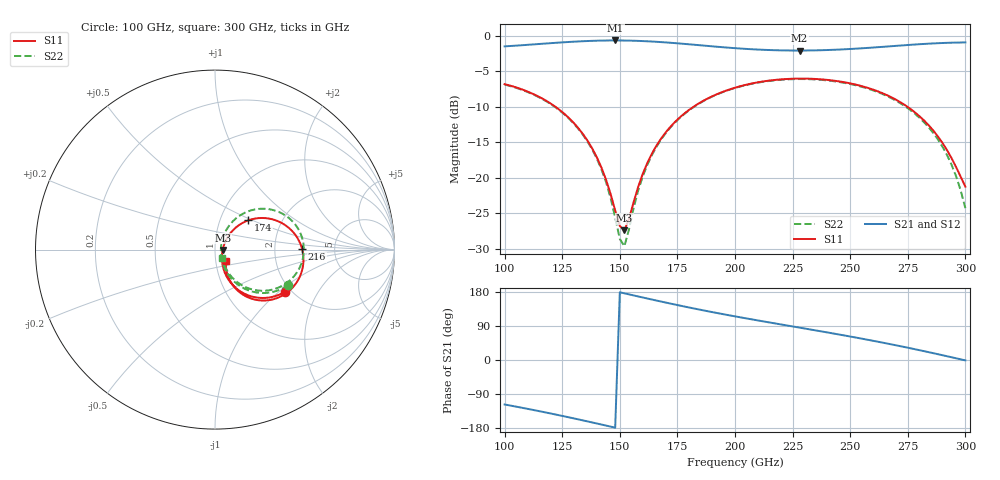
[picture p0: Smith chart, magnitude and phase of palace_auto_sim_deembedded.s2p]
! Created with skrf 1.11.0 (http://scikit-rf.org).
# GHz S DB R 50.0
!freq dBS11 angS11 dBS21 angS21 dBS12 angS12 dBS22 angS22
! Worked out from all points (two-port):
!   101 points, 100 GHz to 300 GHz, reference 50 ohm
!   highest |S21| = -0.68 dB at 148 GHz (marker M1); lowest = -2.1 dB at 228 GHz (marker M2)
!   |S21| within 3 dB of the highest: start of sweep to end of sweep
!   lowest |S11| = -27.4 dB at 152 GHz (marker M3), VSWR 1.09, Z = 54.5 - j0.211 ohm
!   |S11| at or under -10 dB: 122 GHz to 182 GHz (59.99 GHz wide, 39.5 % of centre); 274.8 GHz to end of sweep
!   |S22| runs from -29.6 to -6.1 dB; largest |S21 - S12| = 1.4e-12
!   S11 on the Smith chart (normalised r, x): 100 GHz: 1.86, -1.10; 174 GHz: 1.36, +0.47; 216 GHz: 2.89, +0.02; 300 GHz: 1.12, -0.14
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100  -6.82 -30.8  -1.51 -117.4  -1.51 -117.4  -6.88 -25.8
120  -9.55 -51.8  -1.06 -141.2  -1.06 -141.2  -9.62 -46.2
134  -13.84 -64.7  -0.78 -159.4  -0.78 -159.4  -13.95 -59.5
142  -18.54 -66.3  -0.70 -170.3  -0.70 -170.3  -18.78 -62.6
146  -22.27 -59.2  -0.68 -175.8  -0.68 -175.8  -22.83 -57.3
148  -24.60 -49.3  -0.68 -178.5  -0.68 -178.5  -25.59 -48.4
150  -26.78 -30.4  -0.68 178.7  -0.68 178.7  -28.60 -28.1
152  -27.38 -2.6  -0.69 175.9  -0.69 175.9  -29.62 7.6
160  -19.41 45.6  -0.77 164.9  -0.77 164.9  -19.77 59.3
168  -14.44 45.7  -0.91 154.1  -0.91 154.1  -14.58 57.8
174  -12.13 41.3  -1.05 146.3  -1.05 146.3  -12.21 52.9
186  -9.21 30.0  -1.39 131.3  -1.39 131.3  -9.26 41.4
200  -7.33 16.1  -1.76 115.2  -1.76 115.2  -7.36 27.5
216  -6.28 0.4  -2.04 98.0  -2.04 98.0  -6.33 11.9
228  -6.04 -11.2  -2.09 85.5  -2.09 85.5  -6.11 0.4
234  -6.08 -17.0  -2.07 79.2  -2.07 79.2  -6.15 -5.3
252  -6.86 -34.5  -1.84 59.7  -1.84 59.7  -6.95 -22.9
268  -8.69 -49.9  -1.48 41.1  -1.48 41.1  -8.82 -39.2
280  -11.31 -60.2  -1.21 26.0  -1.21 26.0  -11.53 -51.3
288  -14.15 -64.1  -1.06 15.4  -1.06 15.4  -14.57 -58.1
294  -17.24 -61.9  -0.99 7.2  -0.99 7.2  -18.17 -60.2
300  -21.25 -45.4  -0.96 -1.0  -0.96 -1.0  -24.28 -49.8
